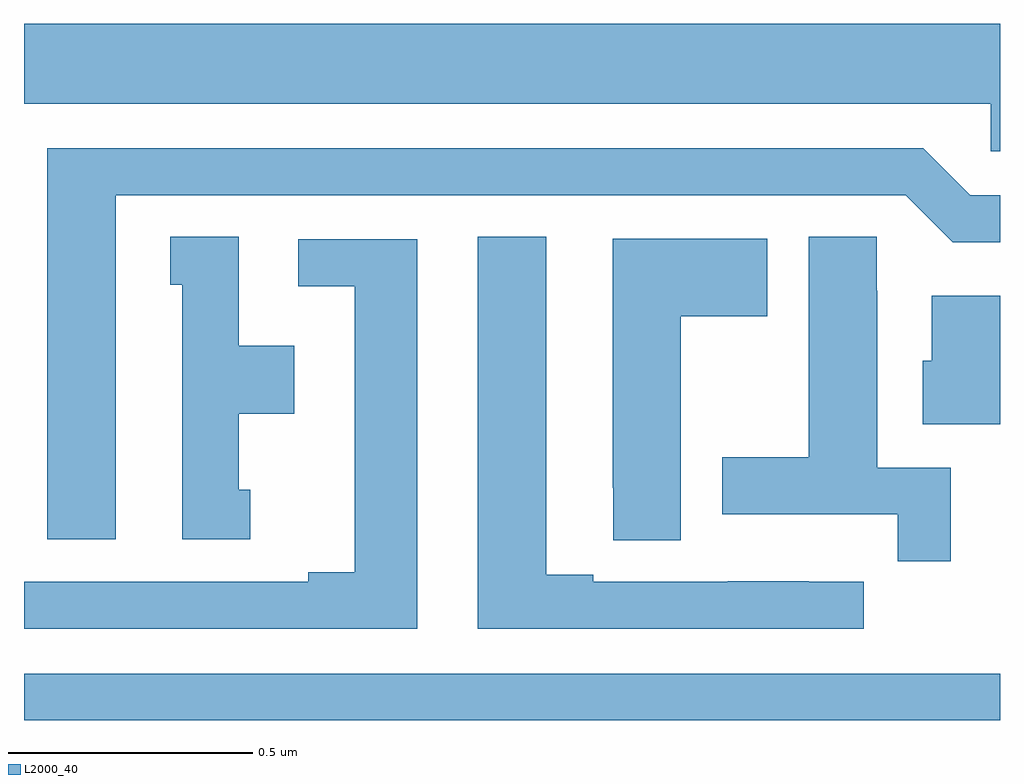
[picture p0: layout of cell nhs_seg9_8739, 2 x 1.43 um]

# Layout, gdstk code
import gdstk
lib = gdstk.Library(unit=1e-6, precision=1e-09)
def R(c, l, rs):  # rectangles x0, y0, x1, y1
    for r in rs: c.add(gdstk.rectangle(r[:2], r[2:], *l))
def P(c, l, *ps):  # polygons
    for p in ps: c.add(gdstk.Polygon(p, *l))
L2000_40 = (2000, 40)

nhs_seg9_8739 = lib.new_cell('nhs_seg9_8739')
R(nhs_seg9_8739, L2000_40, [(221,1184.5,223,1184.596)])
P(nhs_seg9_8739, L2000_40, [(223,1185.928),(221,1185.928),(221,1185.764),(222.981,1185.764),(222.981,1185.666),(223,1185.666)],
  [(221.188,1185.576),(222.807,1185.576),(222.903,1185.48),(223,1185.48),(223,1185.576),(222.939,1185.576),(222.843,1185.672),(221.048,1185.672),(221.048,1184.871),(221.188,1184.871)],
  [(221.464,1184.973),(221.44,1184.973),(221.44,1185.128),(221.554,1185.128),(221.554,1185.268),(221.44,1185.268),(221.44,1185.491),(221.3,1185.491),(221.3,1185.393),(221.324,1185.393),(221.324,1184.871),(221.464,1184.871)],
  [(222.899,1185.018),(222.748,1185.018),(222.748,1185.38),(222.747,1185.38),(222.747,1185.491),(222.608,1185.491),(222.608,1185.039),(222.431,1185.039),(222.431,1184.922),(222.79,1184.922),(222.79,1184.826),(222.899,1184.826)],
  [(222.721,1184.784),(222.608,1184.784),(222.608,1184.785),(222.442,1184.785),(222.442,1184.784),(222.166,1184.784),(222.166,1184.799),(222.07,1184.799),(222.07,1185.491),(221.93,1185.491),(221.93,1184.688),(222.721,1184.688)],
  [(222.346,1185.328),(222.523,1185.328),(222.523,1185.487),(222.206,1185.487),(222.206,1184.977),(222.207,1184.977),(222.207,1184.869),(222.346,1184.869)],
  [(221.806,1185.486),(221.562,1185.486),(221.562,1185.39),(221.678,1185.39),(221.678,1184.804),(221.582,1184.804),(221.582,1184.784),(221,1184.784),(221,1184.688),(221.806,1184.688)],
  [(223,1185.37),(222.86,1185.37),(222.86,1185.237),(222.842,1185.237),(222.842,1185.107),(223,1185.107)])

lib.write_gds('nhs_seg9_8739.gds')
